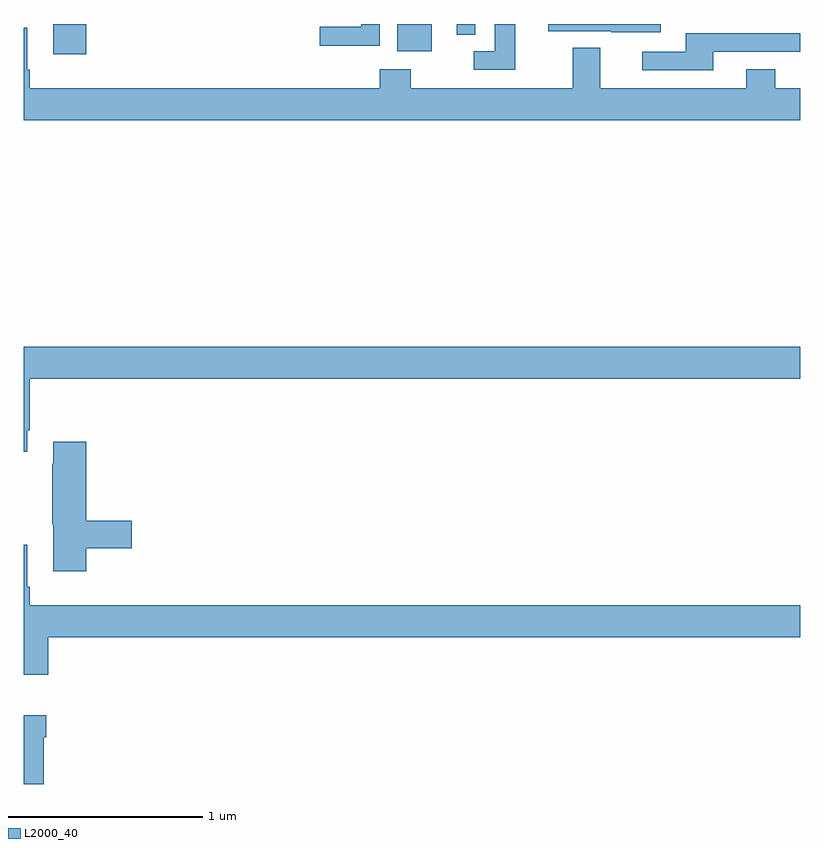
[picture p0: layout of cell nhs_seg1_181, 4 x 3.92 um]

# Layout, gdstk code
import gdstk
lib = gdstk.Library(unit=1e-6, precision=1e-09)
def R(c, l, rs):  # rectangles x0, y0, x1, y1
    for r in rs: c.add(gdstk.rectangle(r[:2], r[2:], *l))
def P(c, l, *ps):  # polygons
    for p in ps: c.add(gdstk.Polygon(p, *l))
L2000_40 = (2000, 40)

nhs_seg1_181 = lib.new_cell('nhs_seg1_181')
R(nhs_seg1_181, L2000_40, [(119.153,580.044,119.321,580.199), (120.923,580.058,121.102,580.199), (121.23,580.144,121.326,580.199)])
P(nhs_seg1_181, L2000_40, [(121.531,580.199),(121.427,580.199),(121.427,580.059),(121.317,580.059),(121.317,579.963),(121.531,579.963)],
  [(120.834,580.199),(120.738,580.199),(120.738,580.185),(120.525,580.185),(120.525,580.087),(120.834,580.087)],
  [(122.281,580.199),(121.703,580.199),(121.703,580.161),(122.027,580.161),(122.027,580.157),(122.281,580.157)],
  [(123,579.868),(122.871,579.868),(122.871,579.967),(122.723,579.967),(122.723,579.868),(121.969,579.868),(121.969,580.076),(121.829,580.076),(121.829,579.868),(120.993,579.868),(120.993,579.967),(120.833,579.967),(120.833,579.868),(119.03,579.868),(119.03,579.964),(119.017,579.964),(119.017,580.18),(119,580.18),(119,579.704),(123,579.704)],
  [(122.551,580.056),(123,580.056),(123,580.152),(122.411,580.152),(122.411,580.056),(122.187,580.056),(122.187,579.96),(122.551,579.96)],
  [(119.017,578.107),(119.03,578.107),(119.03,578.372),(123,578.372),(123,578.536),(119,578.536),(119,577.995),(119.017,577.995)],
  [(119.321,577.498),(119.557,577.498),(119.557,577.64),(119.321,577.64),(119.321,578.047),(119.153,578.047),(119.153,577.934),(119.146,577.934),(119.146,577.623),(119.153,577.623),(119.153,577.38),(119.321,577.38)],
  [(119.126,577.04),(123,577.04),(123,577.204),(119.03,577.204),(119.03,577.3),(119.017,577.3),(119.017,577.516),(119,577.516),(119,576.846),(119.126,576.846)],
  [(119.104,576.524),(119.117,576.524),(119.117,576.637),(119,576.637),(119,576.284),(119.104,576.284)])

lib.write_gds('nhs_seg1_181.gds')
